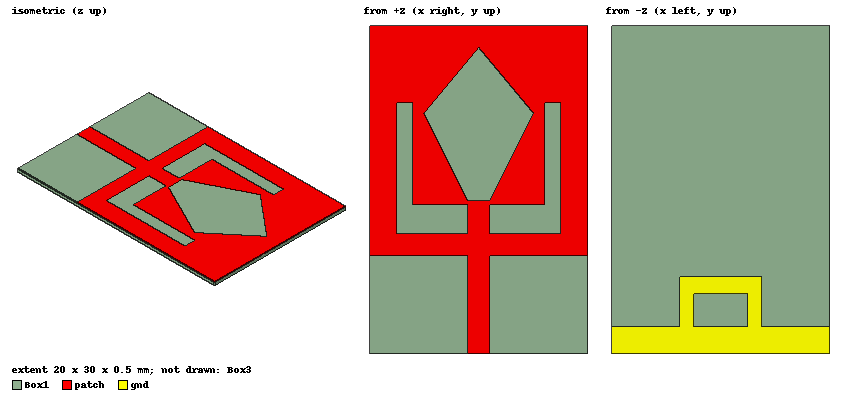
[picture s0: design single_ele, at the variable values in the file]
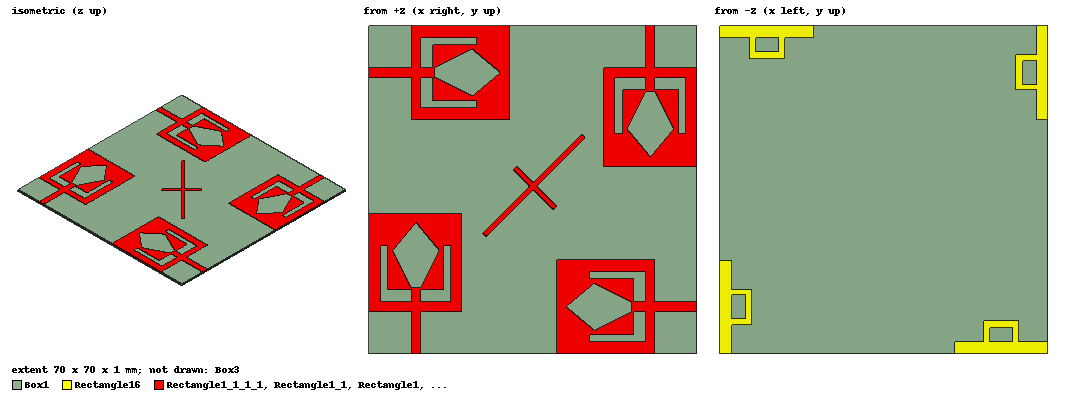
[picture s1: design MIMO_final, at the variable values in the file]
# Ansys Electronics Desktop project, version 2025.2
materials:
  vacuum: permittivity=1
  Melinex_PET: permittivity=2.9 dielectric_loss_tangent=0.06
  air: permittivity=1.0006 permeability=1.0000004

design single_ele (HFSS, HFSS Terminal Network, model units mm)
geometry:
  Box1 [Melinex_PET] = box(corner=(-10mm, -15mm, 0mm), size=(20mm, 30mm, 0.5mm))
  patch = rectangle(corner=(-1mm, -15mm, 0.5mm), x_size=2mm, y_size=13.6mm)
  Box3 [air] = box(corner=(-50mm, -50mm, -50mm), size=(100mm, 100mm, 100mm))
  Rectangle12 = rectangle(corner=(-1mm, -15mm, 0.5mm), z_size=-0.5mm, x_size=2mm)
  Rectangle14 = rectangle(corner=(-7.5mm, -6mm, 0.5mm), x_size=15mm, y_size=2.6mm)
  Rectangle15 = rectangle(corner=(-10mm, -15mm, 0mm), x_size=20mm, y_size=2.5mm)
  gnd = rectangle(corner=(-3.75mm, -2.375mm, 0mm), x_size=7.5mm, y_size=4.5mm)
  Rectangle17 = rectangle(corner=(-2.5mm, -5mm, 0mm), x_size=5mm, y_size=3mm)
  Rectangle14.move(0mm, 2mm, 0mm)
  Polyline1 = polyline(z=0.5mm, xy in mm: (-1, -1) (-5, 7) (0, 13) (5, 7) (1, -1) (-1, -1), closed, covered)
  Rectangle18 = rectangle(corner=(-10mm, 15mm, 0.5mm), x_size=20mm, y_size=-19mm)
  Rectangle19 = rectangle(corner=(-10mm, -4mm, 0.5mm), x_size=20mm, y_size=-2mm)
  gnd.move(0mm, -2mm, 0mm)
  gnd.move(0mm, -3mm, 0mm)
  gnd.move(0mm, 1mm, 0mm)
  gnd.move(0mm, 2mm, 0mm)
  Rectangle20 = rectangle(corner=(-7.5mm, -1.4mm, 0.5mm), x_size=1.5mm, y_size=9.4mm)
  Rectangle21 = rectangle(corner=(7.5mm, -1.4mm, 0.5mm), x_size=-1.5mm, y_size=9.4mm)
  Rectangle18.subtract(Polyline1, Rectangle14, Rectangle20, Rectangle21)
  patch.unite(Rectangle18, Rectangle19)
  gnd.move(0mm, -4mm, 0mm)
  gnd.move(0mm, -1mm, 0mm)
  gnd.move(0mm, 3mm, 0mm)
  gnd.move(0mm, -1mm, 0mm)
  Rectangle17.move(0mm, -5mm, 0mm)
  Rectangle17.move(0mm, 2.7mm, 0mm)
  Rectangle17.move(0mm, -0.1mm, 0mm)
  Rectangle17.move(0.002mm, 0.024mm, 0mm)
  gnd.subtract(Rectangle17)
  gnd.move(-0.002mm, -5.124mm, 0mm)
  gnd.unite(Rectangle15)
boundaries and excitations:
  Rad1: Radiation Objects=Box3
  PerfE17: Perfect E Objects=gnd
  PerfE18: Perfect E Objects=patch
  Rectangle1_T1: Terminal port=1 Edges=patch.edge(at (0, -15, 0.5)) TerminalResistance=50ohm
  1: Lumped Port Faces=Rectangle12.face LumpedPortType=Terminal Impedance=50ohm
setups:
  Setup1: HfssDriven Frequency=5GHz MaxDeltaS=0.02 MaximumPasses=20 MinimumPasses=1 MinimumConvergedPasses=1 PercentRefinement=30 BasisOrder=1 PortAccuracy=2 DrivenSolverType="Direct Solver"
    sweep Sweep: 1GHz to 20GHz step 0.01GHz; Type=Interpolating InterpTolerance=0.5 InterpMaxSolns=250 PassivityErrorTolerance=0.0001
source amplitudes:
  1:1: 1 0deg
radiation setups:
  Infinite Sphere1: Infinite Sphere Theta=0deg..180deg step 10deg Phi=0deg..360deg step 10deg
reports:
  Terminal S Parameter Plot1: dB(St(Rectangle1_T1,Rectangle1_T1)) vs Freq on Setup1 : Sweep; markers m1 at 3.13GHz, m2 at 7.32GHz, m3 at 3.61GHz, m4 at 5.27GHz, m5 at 6.76GHz

design MIMO_final (HFSS, HFSS Terminal Network, model units mm)
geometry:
  Box1 [Melinex_PET] = box(corner=(-10mm, -15mm, 0mm), size=(70mm, 70mm, 0.5mm))
  Rectangle1 = rectangle(corner=(-1mm, -15mm, 0.5mm), x_size=2mm, y_size=13.6mm)
  Box3 [air] = box(corner=(-35mm, -40mm, -25mm), size=(117mm, 117mm, 55mm))
  Rectangle12 = rectangle(corner=(-1mm, -15mm, 0.5mm), z_size=-0.5mm, x_size=2mm)
  Rectangle14 = rectangle(corner=(-7.5mm, -6mm, 0.5mm), x_size=15mm, y_size=2.6mm)
  Rectangle15 = rectangle(corner=(-10mm, -15mm, 0mm), x_size=20mm, y_size=2.5mm)
  Rectangle16 = rectangle(corner=(-3.75mm, -2.375mm, 0mm), x_size=7.5mm, y_size=4.5mm)
  Rectangle17 = rectangle(corner=(-2.5mm, -5mm, 0mm), x_size=5mm, y_size=3mm)
  Rectangle14.move(0mm, 2mm, 0mm)
  Polyline1 = polyline(z=0.5mm, xy in mm: (-1, -1) (-5, 7) (0, 13) (5, 7) (1, -1) (-1, -1), closed, covered)
  Rectangle18 = rectangle(corner=(-10mm, 15mm, 0.5mm), x_size=20mm, y_size=-19mm)
  Rectangle19 = rectangle(corner=(-10mm, -4mm, 0.5mm), x_size=20mm, y_size=-2mm)
  Rectangle16.move(0mm, -2mm, 0mm)
  Rectangle16.move(0mm, -3mm, 0mm)
  Rectangle16.move(0mm, 1mm, 0mm)
  Rectangle16.move(0mm, 2mm, 0mm)
  Rectangle20 = rectangle(corner=(-7.5mm, -1.4mm, 0.5mm), x_size=1.5mm, y_size=9.4mm)
  Rectangle21 = rectangle(corner=(7.5mm, -1.4mm, 0.5mm), x_size=-1.5mm, y_size=9.4mm)
  Rectangle18.subtract(Polyline1, Rectangle14, Rectangle20, Rectangle21)
  Rectangle1.unite(Rectangle18, Rectangle19)
  Rectangle16.move(0mm, -4mm, 0mm)
  Rectangle16.move(0mm, -1mm, 0mm)
  Rectangle16.move(0mm, 3mm, 0mm)
  Rectangle16.move(0mm, -1mm, 0mm)
  Rectangle17.move(0mm, -5mm, 0mm)
  Rectangle17.move(0mm, 2.7mm, 0mm)
  Rectangle17.move(0mm, -0.1mm, 0mm)
  Rectangle17.move(0.002mm, 0.024mm, 0mm)
  Rectangle16.subtract(Rectangle17)
  Rectangle16.move(-0.002mm, -5.124mm, 0mm)
  Rectangle16.unite(Rectangle15)
  Rectangle1_1 = Rectangle1.duplicate_around_axis(axis=Z, angle=90deg, total=2)
  Rectangle12_1 = Rectangle12.duplicate_around_axis(axis=Z, angle=90deg, total=2)
  Rectangle16_1 = Rectangle16.duplicate_around_axis(axis=Z, angle=90deg, total=2)
  [Rectangle1_1, Rectangle16_1, Rectangle12_1].move(32mm, -5mm, 0mm)
  [Rectangle12_1, Rectangle1_1, Rectangle16_1].move(10mm, 8.8817842e-16mm, 0mm)
  Rectangle1_1_1 = Rectangle1_1.duplicate_around_axis(axis=Z, angle=90deg, total=2)
  Rectangle16_1_1 = Rectangle16_1.duplicate_around_axis(axis=Z, angle=90deg, total=2)
  Rectangle12_1_1 = Rectangle12_1.duplicate_around_axis(axis=Z, angle=90deg, total=2)
  [Rectangle16_1_1, Rectangle1_1_1, Rectangle12_1_1].move(42mm, -5mm, 0mm)
  Rectangle1_1_1_1 = Rectangle1_1_1.duplicate_around_axis(axis=Z, angle=90deg, total=2)
  Rectangle16_1_1_1 = Rectangle16_1_1.duplicate_around_axis(axis=Z, angle=90deg, total=2)
  Rectangle12_1_1_1 = Rectangle12_1_1.duplicate_around_axis(axis=Z, angle=90deg, total=2)
  [Rectangle1_1_1_1, Rectangle16_1_1_1, Rectangle12_1_1_1].move(42mm, -5mm, 0mm)
  [Rectangle16_1, Rectangle12_1, Rectangle1_1].move(3mm, 0mm, 0mm)
  [Rectangle1_1_1, Rectangle16_1_1, Rectangle12_1_1].move(3mm, 3mm, 0mm)
  [Rectangle1_1_1_1, Rectangle16_1_1_1, Rectangle12_1_1_1].move(0mm, 3mm, 0mm)
  Rectangle16.unite(Rectangle16_1_1_1, Rectangle16_1_1, Rectangle16_1)
  Rectangle22 = rectangle(corner=(-10mm, 15mm, 0.5mm), x_size=20mm, y_size=-0.2mm)
  Rectangle23 = rectangle(corner=(10mm, -6mm, 0.5mm), x_size=-0.2mm, y_size=20.9mm)
  Rectangle1.subtract(Rectangle22)
  Rectangle1.subtract(Rectangle23)
  Rectangle24 = rectangle(corner=(-2.999mm, 41.252mm, 0mm), x_size=-0.1mm, y_size=7.5mm)
  Rectangle16.subtract(Rectangle24)
  Rectangle25 = rectangle(corner=(52.999mm, -8.752mm, 0mm), x_size=0.2mm, y_size=7.502mm)
  Rectangle16.subtract(Rectangle25)
  Rectangle26 = rectangle(corner=(57.5mm, 5mm, 0mm), x_size=2.5mm, y_size=-0.2mm)
  Rectangle16.subtract(Rectangle26)
  Rectangle27 = rectangle(corner=(10mm, 20.5mm, 0.5mm), x_size=30mm, y_size=-1mm)
  Rectangle28 = rectangle(corner=(24.25mm, 25.5mm, 0.5mm), x_size=1mm, y_size=-12mm)
  Rectangle28.unite(Rectangle27)
  Rectangle28.rotate(axis=Z, angle=45deg)
  Rectangle28.move(21.641243mm, -10.935922mm, 0.5mm)
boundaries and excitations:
  Rad1: Radiation Objects=Box3
  PerfE17: Perfect E Objects=Rectangle16
  PerfE18: Perfect E Objects=Rectangle1
  PerfE20: Perfect E Objects=Rectangle1_1
  PerfE22: Perfect E Objects=Rectangle1_1_1
  PerfE24: Perfect E Objects=Rectangle1_1_1_1
  PerfE25: Perfect E Objects=Rectangle28
  Rectangle1_T1: Terminal port=1 Edges=Rectangle1.edge(at (0, -15, 0.5)) TerminalResistance=50ohm
  Rectangle1_T2: Terminal port=2 Edges=Rectangle1_1.edge(at (60, -5, 0.5)) TerminalResistance=50ohm
  Rectangle1_T3: Terminal port=3 Edges=Rectangle1_1_1.edge(at (50, 55, 0.5)) TerminalResistance=50ohm
  Rectangle1_T4: Terminal port=4 Edges=Rectangle1_1_1_1.edge(at (-10, 45, 0.5)) TerminalResistance=50ohm
  1: Lumped Port Faces=Rectangle12.face(at (0, -15, 0.25)) LumpedPortType=Terminal Impedance=50ohm
  2: Lumped Port Faces=Rectangle12_1.face(at (60, -5, 0.25)) LumpedPortType=Terminal Impedance=50ohm
  3: Lumped Port Faces=Rectangle12_1_1.face(at (50, 55, 0.25)) LumpedPortType=Terminal Impedance=50ohm
  4: Lumped Port Faces=Rectangle12_1_1_1.face(at (-10, 45, 0.25)) LumpedPortType=Terminal Impedance=50ohm
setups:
  Setup1: HfssDriven Frequency=5GHz MaxDeltaS=0.02 MaximumPasses=20 MinimumPasses=1 MinimumConvergedPasses=1 PercentRefinement=30 BasisOrder=1 PortAccuracy=2 DrivenSolverType="Direct Solver"
    sweep Sweep: 1GHz to 20GHz step 0.01GHz; Type=Interpolating InterpTolerance=0.5 InterpMaxSolns=250 PassivityErrorTolerance=0.0001
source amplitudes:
  1:1, 2:1, 3:1, 4:1: 1 0deg
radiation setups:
  Infinite Sphere1: Infinite Sphere Theta=0deg..180deg step 10deg Phi=0deg..360deg step 10deg
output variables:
  ECC12 = (mag(conjg(S(1,1))*S(1,2)+conjg(S(2,1))*S(2,2)))^2/((1-mag(S(1,1))^2-mag(S(2,1))^2)*(1-mag(S(2,2))^2-mag(S(1,2))^2))
  ECC13 = (mag(conjg(S(1,1))*S(1,3)+conjg(S(3,1))*S(3,3)))^2/((1-mag(S(1,1))^2-mag(S(3,1))^2)*(1-mag(S(3,3))^2-mag(S(1,3))^2))
  ECC14 = (mag(conjg(S(1,1))*S(1,4)+conjg(S(4,1))*S(4,4)))^2/((1-mag(S(1,1))^2-mag(S(4,1))^2)*(1-mag(S(4,4))^2-mag(S(1,4))^2))
  DG12 = 10*sqrt(1-ECC12^2)
  DG13 = 10*sqrt(1-ECC13^2)
  DG14 = 10*sqrt(1-ECC14^2)
  MEG12 = (1-(mag(S(1,1)))^2-(mag(S(1,2)))^2)/2
  MEG13 = (1-(mag(S(1,1)))^2-(mag(S(1,3)))^2)/2
  MEG14 = (1-(mag(S(1,1)))^2-(mag(S(1,4)))^2)/2
  MEG21 = (1-(mag(S(1,2)))^2-(mag(S(2,2)))^2)/2
  MEG31 = (1-(mag(S(1,3)))^2-(mag(S(3,3)))^2)/2
  MEG41 = (1-(mag(S(1,4)))^2-(mag(S(4,4)))^2)/2
  ME12RATIO = MEG12/MEG21
  MEG13RATIO = MEG13/MEG31
  MEG14RATIO = MEG14/MEG41
  TARC12 = sqrt(((S(1,1)+S(1,2))^2+(S(2,1)+S(2,2))^2)/2)
  TARC13 = sqrt(((S(1,1)+S(1,3))^2+(S(3,1)+S(3,3))^2)/2)
  TARC14 = sqrt(((S(1,1)+S(1,4))^2+(S(4,1)+S(4,4))^2)/2)
  CCL12 = -ln((1 - (mag(S(1,1))^2 + mag(S(1,2))^2))*(1 - (mag(S(2,2))^2 + mag(S(2,1))^2)) - (conjg(S(2,2))*S(2,1) + conjg(S(1,2))*S(1,1))*(conjg(S(1,1))*S(1,2) + conjg(S(2,1))*S(2,2)))/ln(2)
  CCL13 = -ln((1 - (mag(S(1,1))^2 + mag(S(1,3))^2))*(1 - (mag(S(3,3))^2 + mag(S(3,1))^2)) - (conjg(S(3,3))*S(3,1) + conjg(S(1,3))*S(1,1))*(conjg(S(1,1))*S(1,3) + conjg(S(3,1))*S(3,3)))/ln(2)
  CCL14 = -ln((1 - (mag(S(1,1))^2 + mag(S(1,4))^2))*(1 - (mag(S(4,4))^2 + mag(S(4,1))^2)) - (conjg(S(4,4))*S(4,1) + conjg(S(1,4))*S(1,1))*(conjg(S(1,1))*S(1,4) + conjg(S(4,1))*S(4,4)))/ln(2)
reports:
  Terminal S Parameter Plot1: dB(St(Rectangle1_T1,Rectangle1_T1)), dB(St(Rectangle1_T2,Rectangle1_T2)), dB(St(Rectangle1_T3,Rectangle1_T3)), dB(St(Rectangle1_T4,Rectangle1_T4)) vs Freq on Setup1 : Sweep
  Terminal S Parameter Plot2: dB(St(Rectangle1_T2,Rectangle1_T1)), dB(St(Rectangle1_T3,Rectangle1_T1)), dB(St(Rectangle1_T4,Rectangle1_T1)), dB(St(Rectangle1_T3,Rectangle1_T2)), dB(St(Rectangle1_T4,Rectangle1_T2)), dB(St(Rectangle1_T4,Rectangle1_T3)) vs Freq on Setup1 : Sweep
  Output Variables Plot1: ECC12, ECC13, ECC14, DG12, DG13, DG14 vs Freq on Setup1 : Sweep
  Output Variables Plot2: dB20(MEG12), dB20(MEG13), dB20(MEG14), dB20(MEG21), dB20(MEG31), dB20(MEG41), dB20(ME12RATIO), dB20(MEG13RATIO), dB20(MEG14RATIO) vs Freq on Setup1 : Sweep
  Output Variables Plot3: dB20(TARC12), dB20(TARC13), dB20(TARC14) vs Freq on Setup1 : Sweep
  Output Variables Plot4: mag(CCL12), mag(CCL13), mag(CCL14) vs Freq on Setup1 : Sweep
